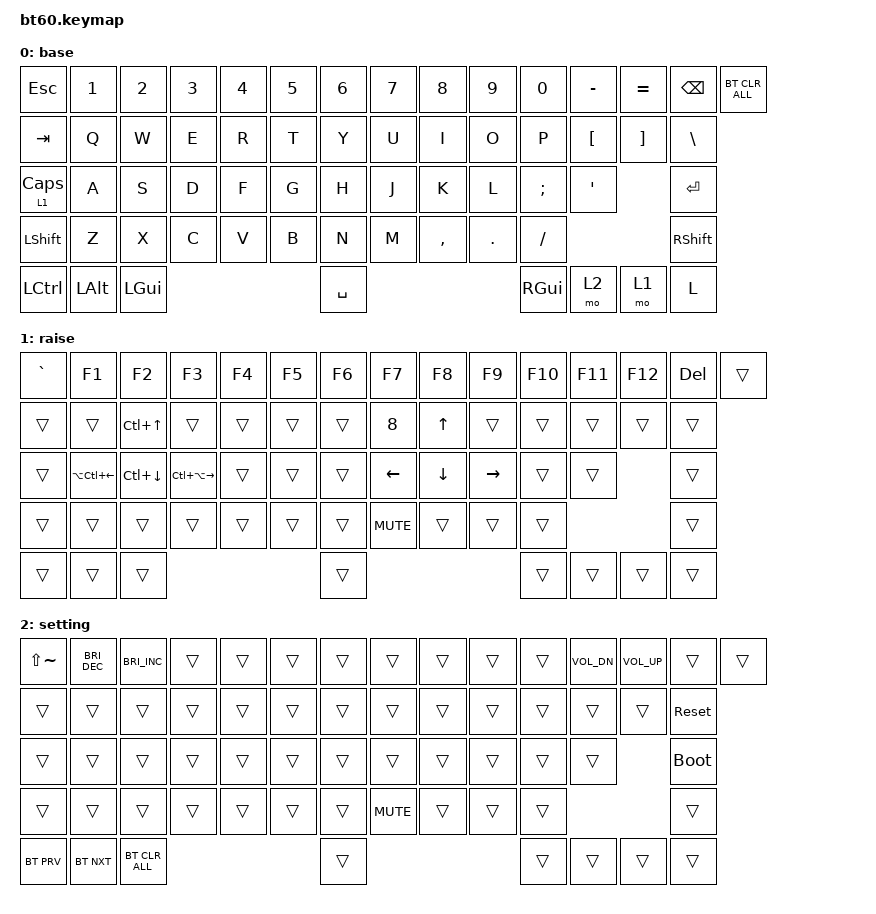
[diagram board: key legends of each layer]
#include <behaviors.dtsi>
#include <dt-bindings/zmk/bt.h>
#include <dt-bindings/zmk/keys.h>

/ {
    keymap {
        compatible = "zmk,keymap";

        base {
            bindings = <
&kp ESC         &kp N1    &kp N2    &kp N3  &kp N4  &kp N5  &kp N6     &kp N7  &kp N8     &kp N9   &kp N0    &kp MINUS  &kp EQUAL  &kp BSPC   &bt BT_CLR_ALL
&kp TAB         &kp Q     &kp W     &kp E   &kp R   &kp T   &kp Y      &kp U   &kp I      &kp O    &kp P     &kp LBKT   &kp RBKT   &kp BSLH
&lt 1 CAPSLOCK  &kp A     &kp S     &kp D   &kp F   &kp G   &kp H      &kp J   &kp K      &kp L    &kp SEMI  &kp SQT               &kp RET
&kp LSHFT       &kp Z     &kp X     &kp C   &kp V   &kp B   &kp N      &kp M   &kp COMMA  &kp DOT  &kp FSLH                        &kp RSHFT
&kp LCTRL       &kp LALT  &kp LGUI                          &kp SPACE                              &kp RGUI  &mo 2      &mo 1      &kp L
            >;
        };

        raise {
            bindings = <
&kp GRAVE  &kp F1            &kp F2        &kp F3             &kp F4  &kp F5  &kp F6  &kp F7      &kp F8    &kp F9     &kp F10  &kp F11  &kp F12  &kp DEL  &trans
&trans     &trans            &kp LC(UP)    &trans             &trans  &trans  &trans  &kp N8      &kp UP    &trans     &trans   &trans   &trans   &trans
&trans     &kp LA(LC(LEFT))  &kp LC(DOWN)  &kp LC(LA(RIGHT))  &trans  &trans  &trans  &kp LEFT    &kp DOWN  &kp RIGHT  &trans   &trans            &trans
&trans     &trans            &trans        &trans             &trans  &trans  &trans  &kp C_MUTE  &trans    &trans     &trans                     &trans
&trans     &trans            &trans                                           &trans                                   &trans   &trans   &trans   &trans
            >;
        };

        setting {
            bindings = <
&kp LS(TILDE)  &kp C_BRIGHTNESS_DEC  &kp C_BRIGHTNESS_INC  &trans  &trans  &trans  &trans  &trans      &trans  &trans  &trans  &kp C_VOL_DN  &kp C_VOLUME_UP  &trans       &trans
&trans         &trans                &trans                &trans  &trans  &trans  &trans  &trans      &trans  &trans  &trans  &trans        &trans           &sys_reset
&trans         &trans                &trans                &trans  &trans  &trans  &trans  &trans      &trans  &trans  &trans  &trans                         &bootloader
&trans         &trans                &trans                &trans  &trans  &trans  &trans  &kp C_MUTE  &trans  &trans  &trans                                 &trans
&bt BT_PRV     &bt BT_NXT            &bt BT_CLR_ALL                                &trans                              &trans  &trans        &trans           &trans
            >;
        };
    };
};
